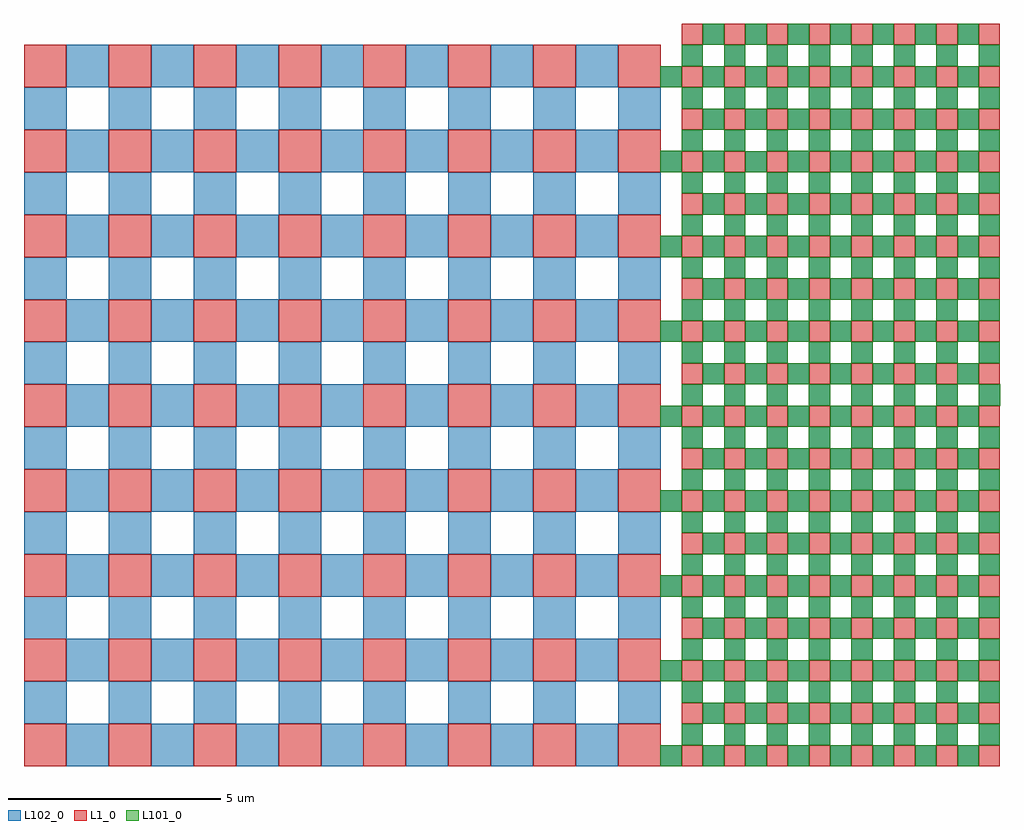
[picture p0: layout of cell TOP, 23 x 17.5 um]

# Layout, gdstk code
from math import pi, radians
import gdstk
lib = gdstk.Library(unit=1e-6, precision=1e-09)
def R(c, l, rs):  # rectangles x0, y0, x1, y1
    for r in rs: c.add(gdstk.rectangle(r[:2], r[2:], *l))
def A(c, l, x, y, w, h, nx, ny, dx, dy):  # array of equal rectangles
    R(c, l, [(x+i*dx, y+j*dy, x+i*dx+w, y+j*dy+h) for i in range(nx) for j in range(ny)])
L1_0 = (1, 0)
L101_0 = (101, 0)
L102_0 = (102, 0)

c_c1 = lib.new_cell('C1')
R(c_c1, L1_0, [(0,0,1,1), (0,2,1,3)])
c_c1.add(gdstk.Label('C1', (0.4,1.4), layer=1, texttype=0))

c_c2 = lib.new_cell('C2')
R(c_c2, L1_0, [(0,0,2,2), (0,4,2,6)])
c_c2.add(gdstk.Label('C2', (0.8,2.8), layer=1, texttype=0))

c_c4 = lib.new_cell('C4')
R(c_c4, L1_0, [(0,0,4,4), (0,8,4,12)])
c_c4.add(gdstk.Label('C4', (2,6), layer=1, texttype=0))

cc1 = lib.new_cell('CC1')
R(cc1, L1_0, [(4,4,5,5), (4,6,5,7)])
cc1.add(gdstk.Reference(c_c1, (0,0)))
cc1.add(gdstk.Reference(c_c1, (0,4)))
cc1.add(gdstk.Reference(c_c1, (6,4)))
cc1.add(gdstk.Reference(c_c1, (6,0)))
cc1.add(gdstk.Reference(c_c2, (2,0), magnification=0.5))
cc1.add(gdstk.Reference(c_c4, (4,0), magnification=0.25))
cc1.add(gdstk.Reference(c_c4, (2,4), magnification=0.25))
cc1.add(gdstk.Label('CC1', (3.4,3.4), layer=1, texttype=0))

cc2 = lib.new_cell('CC2')
A(cc2, L1_0, 0, 16, 1, 1, 8, 1, 2, 0)
cc2.add(gdstk.Reference(cc1, (0,0)))
cc2.add(gdstk.Reference(cc1, (0,8)))
cc2.add(gdstk.Reference(cc1, (15,0), rotation=pi, x_reflection=True))
cc2.add(gdstk.Reference(cc1, (15,15), rotation=3*pi/2, x_reflection=True))

c1_1 = lib.new_cell('C1$1')
R(c1_1, L101_0, [(-0.001,0.999,1.001,2.001)])
R(c1_1, L102_0, [(-0.001,0.999,1.001,2.001)])

c2_1 = lib.new_cell('C2$1')
A(c2_1, L101_0, 1.999, -0.001, 2.002, 2.002, 1, 3, 0, 4)
A(c2_1, L101_0, 3.999, 1.999, 2.002, 2.002, 1, 3, 0, 4)
R(c2_1, L101_0, [(-0.001,1.999,2.001,4.001), (-0.001,5.999,2.001,8.001)])
A(c2_1, L102_0, 1.999, -0.001, 2.002, 2.002, 1, 3, 0, 4)
A(c2_1, L102_0, 3.999, 1.999, 2.002, 2.002, 1, 3, 0, 4)
R(c2_1, L102_0, [(-0.001,1.999,2.001,4.001), (-0.001,5.999,2.001,8.001)])

c4_1 = lib.new_cell('C4$1')
R(c4_1, L101_0, [(-0.001,3.999,4.001,8.001)])
R(c4_1, L102_0, [(-0.001,3.999,4.001,8.001)])

cc1_1 = lib.new_cell('CC1$1')
A(cc1_1, L101_0, -0.001, 2.999, 1.002, 1.002, 4, 1, 2, 0)
A(cc1_1, L101_0, 0.999, 3.999, 1.002, 1.002, 3, 2, 2, 2)
R(cc1_1, L101_0, [(0.999,-0.001,2.001,1.001), (4.999,-0.001,6.001,1.001), (1.999,0.999,3.001,2.001), (3.999,0.999,5.001,2.001), (0.999,1.999,2.001,3.001), (4.999,1.999,6.001,3.001), (1.999,4.999,3.001,6.001), (3.999,4.999,5.001,6.001)])
A(cc1_1, L102_0, -0.001, 2.999, 1.002, 1.002, 4, 1, 2, 0)
A(cc1_1, L102_0, 0.999, 3.999, 1.002, 1.002, 3, 2, 2, 2)
R(cc1_1, L102_0, [(0.999,-0.001,2.001,1.001), (4.999,-0.001,6.001,1.001), (1.999,0.999,3.001,2.001), (3.999,0.999,5.001,2.001), (0.999,1.999,2.001,3.001), (4.999,1.999,6.001,3.001), (1.999,4.999,3.001,6.001), (3.999,4.999,5.001,6.001)])
cc1_1.add(gdstk.Reference(c1_1, (0,0)))
cc1_1.add(gdstk.Reference(c1_1, (0,4)))
cc1_1.add(gdstk.Reference(c1_1, (6,4)))
cc1_1.add(gdstk.Reference(c1_1, (6,0)))
cc1_1.add(gdstk.Reference(c2_1, (2,0), magnification=0.5))
cc1_1.add(gdstk.Reference(c4_1, (4,0), magnification=0.25))
cc1_1.add(gdstk.Reference(c4_1, (2,4), magnification=0.25))

cc2_1 = lib.new_cell('CC2$1')
A(cc2_1, L101_0, 6.999, -0.001, 1.002, 1.002, 1, 4, 0, 2)
A(cc2_1, L101_0, 7.999, 0.999, 1.002, 1.002, 1, 3, 0, 2)
A(cc2_1, L101_0, -0.001, 6.999, 1.002, 1.002, 8, 2, 2, 8)
A(cc2_1, L101_0, 0.999, 7.999, 1.002, 1.002, 7, 2, 2, 8)
A(cc2_1, L101_0, 7.999, 8.999, 1.002, 1.002, 1, 3, 0, 2)
A(cc2_1, L101_0, 6.999, 9.999, 1.002, 1.002, 1, 3, 0, 2)
A(cc2_1, L102_0, 6.999, -0.001, 1.002, 1.002, 1, 4, 0, 2)
A(cc2_1, L102_0, 7.999, 0.999, 1.002, 1.002, 1, 3, 0, 2)
A(cc2_1, L102_0, -0.001, 6.999, 1.002, 1.002, 8, 2, 2, 8)
A(cc2_1, L102_0, 0.999, 7.999, 1.002, 1.002, 7, 2, 2, 8)
A(cc2_1, L102_0, 7.999, 8.999, 1.002, 1.002, 1, 3, 0, 2)
A(cc2_1, L102_0, 6.999, 9.999, 1.002, 1.002, 1, 3, 0, 2)
cc2_1.add(gdstk.Reference(cc1_1, (0,0)))
cc2_1.add(gdstk.Reference(cc1_1, (0,8)))
cc2_1.add(gdstk.Reference(cc1_1, (15,0), rotation=pi, x_reflection=True))
cc2_1.add(gdstk.Reference(cc1_1, (15,15), rotation=3*pi/2, x_reflection=True))

c4_var1 = lib.new_cell('C4$VAR1')
R(c4_var1, L102_0, [(-0.001,3.999,4.001,8.001)])

c2_var1 = lib.new_cell('C2$VAR1')
A(c2_var1, L102_0, 1.999, -0.001, 2.002, 2.002, 1, 3, 0, 4)
R(c2_var1, L102_0, [(-0.001,1.999,2.001,4.001), (3.999,1.999,6.001,4.001), (-0.001,5.999,2.001,8.001), (3.999,5.999,6.001,8.001)])

c1_var1 = lib.new_cell('C1$VAR1')
R(c1_var1, L102_0, [(-0.001,0.999,1.001,2.001)])

cc1_var1 = lib.new_cell('CC1$VAR1')
A(cc1_var1, L102_0, -0.001, 2.999, 1.002, 1.002, 4, 1, 2, 0)
A(cc1_var1, L102_0, 0.999, 3.999, 1.002, 1.002, 3, 2, 2, 2)
R(cc1_var1, L102_0, [(0.999,-0.001,2.001,1.001), (4.999,-0.001,6.001,1.001), (1.999,0.999,3.001,2.001), (3.999,0.999,5.001,2.001), (0.999,1.999,2.001,3.001), (4.999,1.999,6.001,3.001), (1.999,4.999,3.001,6.001), (3.999,4.999,5.001,6.001)])
cc1_var1.add(gdstk.Reference(c4_var1, (4,0), magnification=0.25))
cc1_var1.add(gdstk.Reference(c4_var1, (2,4), magnification=0.25))
cc1_var1.add(gdstk.Reference(c2_var1, (2,0), magnification=0.5))
cc1_var1.add(gdstk.Reference(c1_var1, (0,0)))
cc1_var1.add(gdstk.Reference(c1_var1, (0,4)))
cc1_var1.add(gdstk.Reference(c1_var1, (6,4)))
cc1_var1.add(gdstk.Reference(c1_var1, (6,0)))

cc2_var1 = lib.new_cell('CC2$VAR1')
A(cc2_var1, L102_0, 6.999, -0.001, 1.002, 1.002, 1, 4, 0, 2)
A(cc2_var1, L102_0, 7.999, 0.999, 1.002, 1.002, 1, 3, 0, 2)
A(cc2_var1, L102_0, -0.001, 6.999, 1.002, 1.002, 8, 2, 2, 8)
A(cc2_var1, L102_0, 0.999, 7.999, 1.002, 1.002, 7, 2, 2, 8)
A(cc2_var1, L102_0, 7.999, 8.999, 1.002, 1.002, 1, 3, 0, 2)
A(cc2_var1, L102_0, 6.999, 9.999, 1.002, 1.002, 1, 3, 0, 2)
cc2_var1.add(gdstk.Reference(cc1_var1, (0,0)))
cc2_var1.add(gdstk.Reference(cc1_var1, (0,8)))
cc2_var1.add(gdstk.Reference(cc1_var1, (15,0), rotation=pi, x_reflection=True))
cc2_var1.add(gdstk.Reference(cc1_var1, (15,15), rotation=3*pi/2, x_reflection=True))

top = lib.new_cell('TOP')
A(top, L101_0, 14.999, -0.001, 0.502, 0.502, 1, 9, 0, 2)
A(top, L101_0, 15.499, 8.499, 0.502, 0.502, 8, 1, 1, 0)
A(top, L101_0, 15.999, 8.999, 0.502, 0.502, 7, 1, 1, 0)
A(top, L102_0, 14.999, -0.001, 0.502, 0.502, 1, 9, 0, 2)
A(top, L102_0, 13.999, 0.999, 1.002, 1.002, 1, 8, 0, 2)
A(top, L102_0, 15.499, 8.499, 0.502, 0.502, 8, 1, 1, 0)
A(top, L102_0, 15.999, 8.999, 0.502, 0.502, 7, 1, 1, 0)
top.add(gdstk.Reference(cc2, (0,0)))
top.add(gdstk.Reference(cc2, (15.5,0), magnification=0.5))
top.add(gdstk.Reference(cc2, (15.5,9), magnification=0.5))
top.add(gdstk.Reference(cc2_1, (15.5,0), magnification=0.5))
top.add(gdstk.Reference(cc2_1, (15.5,9), magnification=0.5))
top.add(gdstk.Reference(cc2_var1, (0,0)))

lib.write_gds('TOP.gds')
